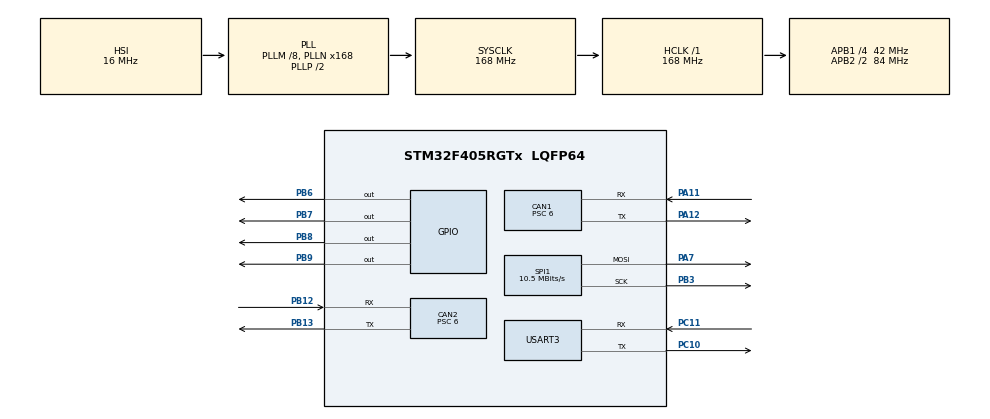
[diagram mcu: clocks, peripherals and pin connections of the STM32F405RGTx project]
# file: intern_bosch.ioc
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CAN1.BS1=CAN_BS1_10TQ
CAN1.BS2=CAN_BS2_3TQ
CAN1.CalculateBaudRate=500000
CAN1.CalculateTimeBit=2000
CAN1.CalculateTimeQuantum=142.85714285714286
CAN1.Prescaler=6
CAN1.SJW=CAN_SJW_2TQ
CAN2.BS1=CAN_BS1_10TQ
CAN2.BS2=CAN_BS2_3TQ
CAN2.CalculateBaudRate=500000
CAN2.CalculateTimeBit=2000
CAN2.CalculateTimeQuantum=142.85714285714286
CAN2.Prescaler=6
CAN2.SJW=CAN_SJW_2TQ
Dma.Request0=USART3_TX
Dma.Request1=SPI1_TX
Dma.SPI1_TX.1.Direction=DMA_MEMORY_TO_PERIPH
Dma.SPI1_TX.1.FIFOMode=DMA_FIFOMODE_DISABLE
Dma.SPI1_TX.1.Instance=DMA2_Stream3
Dma.SPI1_TX.1.MemDataAlignment=DMA_MDATAALIGN_BYTE
Dma.SPI1_TX.1.MemInc=DMA_MINC_ENABLE
Dma.SPI1_TX.1.Mode=DMA_NORMAL
Dma.SPI1_TX.1.PeriphDataAlignment=DMA_PDATAALIGN_BYTE
Dma.SPI1_TX.1.PeriphInc=DMA_PINC_DISABLE
Dma.SPI1_TX.1.Priority=DMA_PRIORITY_LOW
Dma.USART3_TX.0.Direction=DMA_MEMORY_TO_PERIPH
Dma.USART3_TX.0.FIFOMode=DMA_FIFOMODE_DISABLE
Dma.USART3_TX.0.Instance=DMA1_Stream3
Dma.USART3_TX.0.MemDataAlignment=DMA_MDATAALIGN_BYTE
Dma.USART3_TX.0.MemInc=DMA_MINC_ENABLE
Dma.USART3_TX.0.Mode=DMA_NORMAL
Dma.USART3_TX.0.PeriphDataAlignment=DMA_PDATAALIGN_BYTE
Dma.USART3_TX.0.PeriphInc=DMA_PINC_DISABLE
Dma.USART3_TX.0.Priority=DMA_PRIORITY_LOW
Mcu.Family=STM32F4
Mcu.Name=STM32F405RGTx
Mcu.Package=LQFP64
NVIC.CAN1_RX0_IRQn=true\:2\:0\:true\:false\:true\:true\:true\:true
NVIC.CAN2_RX0_IRQn=true\:2\:0\:true\:false\:true\:true\:true\:true
NVIC.DMA1_Stream3_IRQn=true\:3\:0\:true\:false\:true\:false\:true\:true
NVIC.DMA2_Stream3_IRQn=true\:3\:0\:true\:false\:true\:false\:true\:true
NVIC.PriorityGroup=NVIC_PRIORITYGROUP_4
NVIC.TIM2_IRQn=true\:2\:0\:true\:false\:true\:true\:true\:true
NVIC.USART3_IRQn=true\:3\:0\:true\:false\:true\:true\:true\:true
PA11.GPIO_PuPd=GPIO_PULLUP
PA11.Mode=CAN_Activate
PA11.Signal=CAN1_RX
PA12.Mode=CAN_Activate
PA12.Signal=CAN1_TX
PA13.Mode=Serial_Wire
PA13.Signal=SYS_JTMS-SWDIO
PA14.Mode=Serial_Wire
PA14.Signal=SYS_JTCK-SWCLK
PA7.Mode=TX_Only_Simplex_Unidirect_Master
PA7.Signal=SPI1_MOSI
PB12.GPIO_PuPd=GPIO_PULLUP
PB12.Mode=CAN_Activate
PB12.Signal=CAN2_RX
PB13.Mode=CAN_Activate
PB13.Signal=CAN2_TX
PB3.Mode=TX_Only_Simplex_Unidirect_Master
PB3.Signal=SPI1_SCK
PB6.PinState=GPIO_PIN_SET
PB6.Signal=GPIO_Output
PB7.PinState=GPIO_PIN_SET
PB7.Signal=GPIO_Output
PB8.Signal=GPIO_Output
PB9.PinState=GPIO_PIN_SET
PB9.Signal=GPIO_Output
PC10.Mode=Asynchronous
PC10.Signal=USART3_TX
PC11.Mode=Asynchronous
PC11.Signal=USART3_RX
ProjectManager.HeapSize=0x200
ProjectManager.StackSize=0x400
ProjectManager.TargetToolchain=STM32CubeIDE
RCC.48MHZClocksFreq_Value=84000000
RCC.AHBFreq_Value=168000000
RCC.APB1CLKDivider=RCC_HCLK_DIV4
RCC.APB1Freq_Value=42000000
RCC.APB1TimFreq_Value=84000000
RCC.APB2CLKDivider=RCC_HCLK_DIV2
RCC.APB2Freq_Value=84000000
RCC.APB2TimFreq_Value=168000000
RCC.CortexFreq_Value=168000000
RCC.HCLKFreq_Value=168000000
RCC.HSE_VALUE=25000000
RCC.HSI_VALUE=16000000
RCC.LSE_VALUE=32768
RCC.PLLM=8
RCC.PLLN=168
RCC.SYSCLKFreq_VALUE=168000000
RCC.SYSCLKSource=RCC_SYSCLKSOURCE_PLLCLK
RCC.VCOOutputFreq_Value=336000000
SPI1.BaudRatePrescaler=SPI_BAUDRATEPRESCALER_8
SPI1.CalculateBaudRate=10.5 MBits/s
SPI1.Direction=SPI_DIRECTION_2LINES
SPI1.Mode=SPI_MODE_MASTER
SPI1.VirtualType=VM_MASTER
TIM2.Period=499
TIM2.Prescaler=8399
USART3.VirtualMode=VM_ASYNC
VP_TIM2_VS_ClockSourceINT.Mode=Internal
board=custom

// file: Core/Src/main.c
/* USER CODE BEGIN Header */
/**
  ******************************************************************************
  * @file           : main.c
  * @brief          : Main program body
  ******************************************************************************
  * @attention
  *
  * Copyright (c) 2026 STMicroelectronics.
  * All rights reserved.
  *
  * This software is licensed under terms that can be found in the LICENSE file
  * in the root directory of this software component.
  * If no LICENSE file comes with this software, it is provided AS-IS.
  *
  ******************************************************************************
  */
/* USER CODE END Header */
#include "main.h"

/* USER CODE BEGIN Includes */
#include "node1.h"
#include "node2sim.h"
#include "uart_log.h"
/* USER CODE END Includes */

CAN_HandleTypeDef hcan1;
CAN_HandleTypeDef hcan2;

SPI_HandleTypeDef hspi1;
DMA_HandleTypeDef hdma_spi1_tx;

TIM_HandleTypeDef htim2;

UART_HandleTypeDef huart3;
DMA_HandleTypeDef hdma_usart3_tx;

void SystemClock_Config(void);
static void MX_GPIO_Init(void);
static void MX_DMA_Init(void);
static void MX_CAN1_Init(void);
static void MX_CAN2_Init(void);
static void MX_TIM2_Init(void);
static void MX_USART3_UART_Init(void);
static void MX_SPI1_Init(void);

/* USER CODE BEGIN 0 */

/* Both cells accept everything: one filter bank per controller, mask mode
 * with a zero mask, so no ID is ever rejected. Filtering by ID happens in
 * software instead, where it can be read at a glance - there are only two
 * IDs on this bus.
 *
 * The bank split is not optional. CAN1 and CAN2 share one bank array;
 * SlaveStartFilterBank draws the line between them, and a CAN2 filter must
 * live at or above it or it is silently ignored. Bank 0 for CAN1, bank 14
 * for CAN2, boundary at 14.
 *
 * Split out of MX_CANx_Init() on purpose: node1.c and node2sim.c call this
 * again after re-initialising a controller that failed to start, and that
 * recovery would be pointless without the filter and the notification. */
void Can_Setup(void)
{
  CAN_FilterTypeDef f = {0};
  f.FilterIdHigh         = 0x0000;
  f.FilterIdLow          = 0x0000;
  f.FilterMaskIdHigh     = 0x0000;
  f.FilterMaskIdLow      = 0x0000;
  f.FilterFIFOAssignment = CAN_FILTER_FIFO0;
  f.FilterMode           = CAN_FILTERMODE_IDMASK;
  f.FilterScale          = CAN_FILTERSCALE_32BIT;
  f.FilterActivation     = CAN_FILTER_ENABLE;
  f.SlaveStartFilterBank = 14;

  /* Skipping a controller that is already running matters because the
   * recovery paths call this again for whichever cell failed: starting an
   * already-LISTENING cell returns HAL_ERROR and leaves NOT_READY stuck in
   * its ErrorCode, which the diagnostics then print for a controller that
   * is in fact perfectly healthy. */
  if (hcan1.State != HAL_CAN_STATE_LISTENING)
  {
    f.FilterBank = 0;
    (void)HAL_CAN_ConfigFilter(&hcan1, &f);
    /* Return value ignored on purpose: a cell that cannot start yet (bus
     * held dominant at power-up) must not stall the boot. Node1_Init()
     * prints the INAK verdict, and the recovery path retries twice a
     * second until the bus goes quiet. */
    (void)HAL_CAN_Start(&hcan1);
    (void)HAL_CAN_ActivateNotification(&hcan1, CAN_IT_RX_FIFO0_MSG_PENDING);
  }

  if (hcan2.State != HAL_CAN_STATE_LISTENING)
  {
    f.FilterBank = 14;
    (void)HAL_CAN_ConfigFilter(&hcan2, &f);
    (void)HAL_CAN_Start(&hcan2);
    (void)HAL_CAN_ActivateNotification(&hcan2, CAN_IT_RX_FIFO0_MSG_PENDING);
  }
}

/* Both CAN cells land here, dispatched by instance. Using HAL's callback
 * rather than editing the two CAN*_RX0_IRQHandler bodies keeps all of this
 * out of CubeMX-owned code, so a future regeneration cannot silently drop
 * it. Both handlers only copy the frame and set a flag; the work happens
 * in the main loop. */
void HAL_CAN_RxFifo0MsgPendingCallback(CAN_HandleTypeDef *hcan)
{
  if (hcan->Instance == CAN1)
  {
    Node1_HandleCanRx();
  }
  else if (hcan->Instance == CAN2)
  {
    Node2Sim_HandleCanRx();
  }
}

/* TIM2 at 50 ms is Node 1's send cadence - the one timing the practice
 * actually grades. Node 2's 20 ms comes off SysTick inside
 * Node2Sim_Periodic() instead; it is only a test fixture, and keeping the
 * two cadences on separate clocks stops them marching in lockstep. */
void HAL_TIM_PeriodElapsedCallback(TIM_HandleTypeDef *htim)
{
  if (htim->Instance == TIM2)
  {
    Node1_OnTimerTick();
  }
}

/* USER CODE END 0 */

int main(void)
{

  /* MCU Configuration--------------------------------------------------------*/

  /* Reset of all peripherals, Initializes the Flash interface and the Systick. */
  HAL_Init();

  /* Configure the system clock */
  SystemClock_Config();

  /* Initialize all configured peripherals */
  MX_GPIO_Init();
  MX_DMA_Init();
  MX_CAN1_Init();
  MX_CAN2_Init();
  MX_TIM2_Init();
  MX_USART3_UART_Init();
  MX_SPI1_Init();
  /* USER CODE BEGIN 2 */

  /* Order matters here, and not just for tidiness:
   *
   * 1. Can_Setup() first, so both cells are filtering and started before
   *    anything tries to report on them.
   * 2. UartLog_Init() next, so the init verdicts below actually get out.
   * 3. Node1_Init() runs Lcd_Init(), whose one-off full-screen clear
   *    blocks for ~117 ms - which is why the timer is started last: with
   *    TIM2 already running, that clear would swallow two whole 50 ms
   *    ticks before the first frame ever left. */
#if NODE2SIM_LISTEN_ONLY
  /* Diagnostic build: re-init CAN2 as a pure listener before it is started.
   * Silent mode holds CANTX recessive in hardware, so the cell can neither
   * disturb the bus nor accumulate transmit errors - which is exactly what
   * separates "CAN2 cannot hear" from "CAN2 cannot speak". */
  hcan2.Init.Mode = CAN_MODE_SILENT;
  if (HAL_CAN_Init(&hcan2) != HAL_OK)
  {
    Error_Handler();
  }
#endif

  Can_Setup();
  UartLog_Init();
  Node1_Init();
  Node2Sim_Init();

  HAL_TIM_Base_Start_IT(&htim2);

  /* USER CODE END 2 */

  /* Infinite loop */
  while (1)
  {

    /* USER CODE BEGIN 3 */

    /* Node 1 goes first, every iteration. It loads the CAN1 TX mailbox
     * before doing any of its own logging, and putting it ahead of the
     * Node 2 fixture keeps the graded 50 ms send at the front of the
     * queue - the fixture can afford to wait, the graded path cannot. */
    Node1_Periodic();
    Node2Sim_Periodic();
  }
  /* USER CODE END 3 */
}

void SystemClock_Config(void)
{
  RCC_OscInitTypeDef RCC_OscInitStruct = {0};
  RCC_ClkInitTypeDef RCC_ClkInitStruct = {0};

  /** Configure the main internal regulator output voltage
  */
  __HAL_RCC_PWR_CLK_ENABLE();
  __HAL_PWR_VOLTAGESCALING_CONFIG(PWR_REGULATOR_VOLTAGE_SCALE1);

  /** Initializes the RCC Oscillators according to the specified parameters
  * in the RCC_OscInitTypeDef structure.
  */
  RCC_OscInitStruct.OscillatorType = RCC_OSCILLATORTYPE_HSI;
  RCC_OscInitStruct.HSIState = RCC_HSI_ON;
  RCC_OscInitStruct.HSICalibrationValue = RCC_HSICALIBRATION_DEFAULT;
  RCC_OscInitStruct.PLL.PLLState = RCC_PLL_ON;
  RCC_OscInitStruct.PLL.PLLSource = RCC_PLLSOURCE_HSI;
  RCC_OscInitStruct.PLL.PLLM = 8;
  RCC_OscInitStruct.PLL.PLLN = 168;
  RCC_OscInitStruct.PLL.PLLP = RCC_PLLP_DIV2;
  RCC_OscInitStruct.PLL.PLLQ = 4;
  if (HAL_RCC_OscConfig(&RCC_OscInitStruct) != HAL_OK)
  {
    Error_Handler();
  }

  /** Initializes the CPU, AHB and APB buses clocks
  */
  RCC_ClkInitStruct.ClockType = RCC_CLOCKTYPE_HCLK|RCC_CLOCKTYPE_SYSCLK
                              |RCC_CLOCKTYPE_PCLK1|RCC_CLOCKTYPE_PCLK2;
  RCC_ClkInitStruct.SYSCLKSource = RCC_SYSCLKSOURCE_PLLCLK;
  RCC_ClkInitStruct.AHBCLKDivider = RCC_SYSCLK_DIV1;
  RCC_ClkInitStruct.APB1CLKDivider = RCC_HCLK_DIV4;
  RCC_ClkInitStruct.APB2CLKDivider = RCC_HCLK_DIV2;

  if (HAL_RCC_ClockConfig(&RCC_ClkInitStruct, FLASH_LATENCY_5) != HAL_OK)
  {
    Error_Handler();
  }
}

static void MX_CAN1_Init(void)
{

  hcan1.Instance = CAN1;
  hcan1.Init.Prescaler = 6;
  hcan1.Init.Mode = CAN_MODE_NORMAL;
  hcan1.Init.SyncJumpWidth = CAN_SJW_2TQ;
  hcan1.Init.TimeSeg1 = CAN_BS1_10TQ;
  hcan1.Init.TimeSeg2 = CAN_BS2_3TQ;
  hcan1.Init.TimeTriggeredMode = DISABLE;
  hcan1.Init.AutoBusOff = DISABLE;
  hcan1.Init.AutoWakeUp = DISABLE;
  hcan1.Init.AutoRetransmission = DISABLE;
  hcan1.Init.ReceiveFifoLocked = DISABLE;
  hcan1.Init.TransmitFifoPriority = DISABLE;
  if (HAL_CAN_Init(&hcan1) != HAL_OK)
  {
    Error_Handler();
  }

}

static void MX_CAN2_Init(void)
{

  hcan2.Instance = CAN2;
  hcan2.Init.Prescaler = 6;
  hcan2.Init.Mode = CAN_MODE_NORMAL;
  hcan2.Init.SyncJumpWidth = CAN_SJW_2TQ;
  hcan2.Init.TimeSeg1 = CAN_BS1_10TQ;
  hcan2.Init.TimeSeg2 = CAN_BS2_3TQ;
  hcan2.Init.TimeTriggeredMode = DISABLE;
  hcan2.Init.AutoBusOff = DISABLE;
  hcan2.Init.AutoWakeUp = DISABLE;
  hcan2.Init.AutoRetransmission = DISABLE;
  hcan2.Init.ReceiveFifoLocked = DISABLE;
  hcan2.Init.TransmitFifoPriority = DISABLE;
  if (HAL_CAN_Init(&hcan2) != HAL_OK)
  {
    Error_Handler();
  }

}

static void MX_SPI1_Init(void)
{

  /* SPI1 parameter configuration*/
  hspi1.Instance = SPI1;
  hspi1.Init.Mode = SPI_MODE_MASTER;
  hspi1.Init.Direction = SPI_DIRECTION_2LINES;
  hspi1.Init.DataSize = SPI_DATASIZE_8BIT;
  hspi1.Init.CLKPolarity = SPI_POLARITY_LOW;
  hspi1.Init.CLKPhase = SPI_PHASE_1EDGE;
  hspi1.Init.NSS = SPI_NSS_SOFT;
  hspi1.Init.BaudRatePrescaler = SPI_BAUDRATEPRESCALER_8;
  hspi1.Init.FirstBit = SPI_FIRSTBIT_MSB;
  hspi1.Init.TIMode = SPI_TIMODE_DISABLE;
  hspi1.Init.CRCCalculation = SPI_CRCCALCULATION_DISABLE;
  hspi1.Init.CRCPolynomial = 10;
  if (HAL_SPI_Init(&hspi1) != HAL_OK)
  {
    Error_Handler();
  }

}

static void MX_TIM2_Init(void)
{

  TIM_ClockConfigTypeDef sClockSourceConfig = {0};
  TIM_MasterConfigTypeDef sMasterConfig = {0};

  htim2.Instance = TIM2;
  htim2.Init.Prescaler = 8399;
  htim2.Init.CounterMode = TIM_COUNTERMODE_UP;
  htim2.Init.Period = 499;
  htim2.Init.ClockDivision = TIM_CLOCKDIVISION_DIV1;
  htim2.Init.AutoReloadPreload = TIM_AUTORELOAD_PRELOAD_DISABLE;
  if (HAL_TIM_Base_Init(&htim2) != HAL_OK)
  {
    Error_Handler();
  }
  sClockSourceConfig.ClockSource = TIM_CLOCKSOURCE_INTERNAL;
  if (HAL_TIM_ConfigClockSource(&htim2, &sClockSourceConfig) != HAL_OK)
  {
    Error_Handler();
  }
  sMasterConfig.MasterOutputTrigger = TIM_TRGO_RESET;
  sMasterConfig.MasterSlaveMode = TIM_MASTERSLAVEMODE_DISABLE;
  if (HAL_TIMEx_MasterConfigSynchronization(&htim2, &sMasterConfig) != HAL_OK)
  {
    Error_Handler();
  }

}

static void MX_USART3_UART_Init(void)
{

  huart3.Instance = USART3;
  huart3.Init.BaudRate = 115200;
  huart3.Init.WordLength = UART_WORDLENGTH_8B;
  huart3.Init.StopBits = UART_STOPBITS_1;
  huart3.Init.Parity = UART_PARITY_NONE;
  huart3.Init.Mode = UART_MODE_TX_RX;
  huart3.Init.HwFlowCtl = UART_HWCONTROL_NONE;
  huart3.Init.OverSampling = UART_OVERSAMPLING_16;
  if (HAL_UART_Init(&huart3) != HAL_OK)
  {
    Error_Handler();
  }

}

static void MX_DMA_Init(void)
{

  /* DMA controller clock enable */
  __HAL_RCC_DMA1_CLK_ENABLE();
  __HAL_RCC_DMA2_CLK_ENABLE();

  /* DMA interrupt init */
  /* DMA1_Stream3_IRQn interrupt configuration */
  HAL_NVIC_SetPriority(DMA1_Stream3_IRQn, 3, 0);
  HAL_NVIC_EnableIRQ(DMA1_Stream3_IRQn);
  /* DMA2_Stream3_IRQn interrupt configuration */
  HAL_NVIC_SetPriority(DMA2_Stream3_IRQn, 3, 0);
  HAL_NVIC_EnableIRQ(DMA2_Stream3_IRQn);

}

static void MX_GPIO_Init(void)
{
  GPIO_InitTypeDef GPIO_InitStruct = {0};

  /* GPIO Ports Clock Enable */
  __HAL_RCC_GPIOA_CLK_ENABLE();
  __HAL_RCC_GPIOB_CLK_ENABLE();
  __HAL_RCC_GPIOC_CLK_ENABLE();

  /*Configure GPIO pin Output Level */
  HAL_GPIO_WritePin(GPIOB, GPIO_PIN_6|GPIO_PIN_7|GPIO_PIN_9, GPIO_PIN_SET);

  /*Configure GPIO pin Output Level */
  HAL_GPIO_WritePin(GPIOB, GPIO_PIN_8, GPIO_PIN_RESET);

  /*Configure GPIO pins : PB6 PB7 PB8 PB9 */
  GPIO_InitStruct.Pin = GPIO_PIN_6|GPIO_PIN_7|GPIO_PIN_8|GPIO_PIN_9;
  GPIO_InitStruct.Mode = GPIO_MODE_OUTPUT_PP;
  GPIO_InitStruct.Pull = GPIO_NOPULL;
  GPIO_InitStruct.Speed = GPIO_SPEED_FREQ_LOW;
  HAL_GPIO_Init(GPIOB, &GPIO_InitStruct);

}

void Error_Handler(void)
{
  __disable_irq();
  while (1)
  {
  }
}
